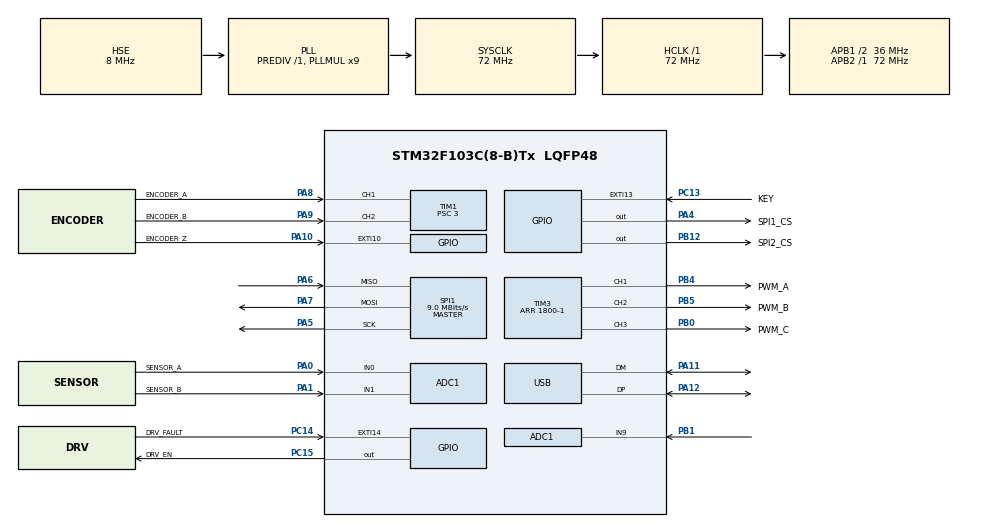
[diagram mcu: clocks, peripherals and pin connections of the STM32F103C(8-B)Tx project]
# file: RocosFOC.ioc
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ADC1.Channel-0\#ChannelRegularConversion=ADC_CHANNEL_0
ADC1.Channel-1\#ChannelRegularConversion=ADC_CHANNEL_1
ADC1.ContinuousConvMode=ENABLE
ADC1.NbrOfConversion=2
ADC1.NbrOfConversionFlag=1
ADC1.Rank-0\#ChannelRegularConversion=1
ADC1.Rank-1\#ChannelRegularConversion=2
ADC1.SamplingTime-0\#ChannelRegularConversion=ADC_SAMPLETIME_1CYCLE_5
ADC1.SamplingTime-1\#ChannelRegularConversion=ADC_SAMPLETIME_1CYCLE_5
ADC1.master=1
Dma.ADC1.0.Direction=DMA_PERIPH_TO_MEMORY
Dma.ADC1.0.Instance=DMA1_Channel1
Dma.ADC1.0.MemDataAlignment=DMA_MDATAALIGN_HALFWORD
Dma.ADC1.0.MemInc=DMA_MINC_ENABLE
Dma.ADC1.0.Mode=DMA_CIRCULAR
Dma.ADC1.0.PeriphDataAlignment=DMA_PDATAALIGN_HALFWORD
Dma.ADC1.0.PeriphInc=DMA_PINC_DISABLE
Dma.ADC1.0.Priority=DMA_PRIORITY_LOW
Dma.Request0=ADC1
Mcu.Family=STM32F1
Mcu.Name=STM32F103C(8-B)Tx
Mcu.Package=LQFP48
NVIC.DMA1_Channel1_IRQn=true\:0\:0\:false\:false\:true\:false\:true\:true
NVIC.PriorityGroup=NVIC_PRIORITYGROUP_4
NVIC.TIM4_IRQn=true\:0\:0\:false\:false\:true\:true\:true\:true
NVIC.USB_LP_CAN1_RX0_IRQn=true\:0\:0\:false\:false\:true\:false\:true\:true
PA0-WKUP.GPIO_Label=SENSOR_A
PA0-WKUP.Signal=ADCx_IN0
PA1.GPIO_Label=SENSOR_B
PA1.Signal=ADCx_IN1
PA10.GPIO_Label=ENCODER_Z
PA10.Signal=GPXTI10
PA11.Mode=Device
PA11.Signal=USB_DM
PA12.Mode=Device
PA12.Signal=USB_DP
PA13.Mode=Serial_Wire
PA13.Signal=SYS_JTMS-SWDIO
PA14.Mode=Serial_Wire
PA14.Signal=SYS_JTCK-SWCLK
PA15.GPIO_Label=PWM_AUX1
PA15.Signal=S_TIM2_CH1_ETR
PA4.GPIO_Label=SPI1_CS
PA4.PinState=GPIO_PIN_SET
PA4.Signal=GPIO_Output
PA5.Mode=Full_Duplex_Master
PA5.Signal=SPI1_SCK
PA6.Mode=Full_Duplex_Master
PA6.Signal=SPI1_MISO
PA7.Mode=Full_Duplex_Master
PA7.Signal=SPI1_MOSI
PA8.GPIO_Label=ENCODER_A
PA8.Signal=S_TIM1_CH1
PA9.GPIO_Label=ENCODER_B
PA9.Signal=S_TIM1_CH2
PB0.GPIO_Label=PWM_C
PB0.Signal=S_TIM3_CH3
PB1.Signal=ADCx_IN9
PB12.GPIO_Label=SPI2_CS
PB12.Signal=GPIO_Output
PB3.GPIO_Label=PWM_AUX2
PB3.Signal=S_TIM2_CH2
PB4.GPIO_Label=PWM_A
PB4.Signal=S_TIM3_CH1
PB5.GPIO_Label=PWM_B
PB5.Signal=S_TIM3_CH2
PC13-TAMPER-RTC.GPIO_Label=KEY
PC13-TAMPER-RTC.Signal=GPXTI13
PC14-OSC32_IN.GPIO_Label=DRV_FAULT
PC14-OSC32_IN.Signal=GPXTI14
PC15-OSC32_OUT.GPIO_Label=DRV_EN
PC15-OSC32_OUT.Signal=GPIO_Output
PD0-OSC_IN.Mode=HSE-External-Oscillator
PD0-OSC_IN.Signal=RCC_OSC_IN
PD1-OSC_OUT.Mode=HSE-External-Oscillator
PD1-OSC_OUT.Signal=RCC_OSC_OUT
ProjectManager.HeapSize=0x600
ProjectManager.StackSize=0x400
ProjectManager.TargetToolchain=STM32CubeIDE
RCC.ADCPresc=RCC_ADCPCLK2_DIV6
RCC.AHBFreq_Value=72000000
RCC.APB1CLKDivider=RCC_HCLK_DIV2
RCC.APB1Freq_Value=36000000
RCC.APB1TimFreq_Value=72000000
RCC.APB2Freq_Value=72000000
RCC.APB2TimFreq_Value=72000000
RCC.HCLKFreq_Value=72000000
RCC.PLLMUL=RCC_PLL_MUL9
RCC.SYSCLKFreq_VALUE=72000000
RCC.SYSCLKSource=RCC_SYSCLKSOURCE_PLLCLK
RCC.USBFreq_Value=48000000
RCC.USBPrescaler=RCC_USBCLKSOURCE_PLL_DIV1_5
RTC.Date=3
RTC.Month=RTC_MONTH_OCTOBER
RTC.Year=22
SH.ADCx_IN0.0=ADC1_IN0,IN0
SH.ADCx_IN1.0=ADC1_IN1,IN1
SH.ADCx_IN9.0=ADC1_IN9,IN9
SH.S_TIM1_CH1.0=TIM1_CH1,Encoder_Interface
SH.S_TIM1_CH2.0=TIM1_CH2,Encoder_Interface
SH.S_TIM2_CH1_ETR.0=TIM2_CH1
SH.S_TIM2_CH2.0=TIM2_CH2
SH.S_TIM3_CH1.0=TIM3_CH1,PWM Generation1 CH1
SH.S_TIM3_CH2.0=TIM3_CH2,PWM Generation2 CH2
SH.S_TIM3_CH3.0=TIM3_CH3,PWM Generation3 CH3
SPI1.BaudRatePrescaler=SPI_BAUDRATEPRESCALER_8
SPI1.CLKPhase=SPI_PHASE_2EDGE
SPI1.CalculateBaudRate=9.0 MBits/s
SPI1.DataSize=SPI_DATASIZE_16BIT
SPI1.Direction=SPI_DIRECTION_2LINES
SPI1.Mode=SPI_MODE_MASTER
SPI1.VirtualType=VM_MASTER
TIM1.EncoderMode=TIM_ENCODERMODE_TI12
TIM1.Prescaler=3
TIM2.AutoReloadPreload=TIM_AUTORELOAD_PRELOAD_ENABLE
TIM2.Period=65536-1
TIM2.Prescaler=72-1
TIM3.AutoReloadPreload=TIM_AUTORELOAD_PRELOAD_ENABLE
TIM3.Channel-PWM\ Generation1\ CH1=TIM_CHANNEL_1
TIM3.Channel-PWM\ Generation2\ CH2=TIM_CHANNEL_2
TIM3.Channel-PWM\ Generation3\ CH3=TIM_CHANNEL_3
TIM3.CounterMode=TIM_COUNTERMODE_CENTERALIGNED1
TIM3.Period=1800-1
TIM3.TIM_MasterSlaveMode=TIM_MASTERSLAVEMODE_DISABLE
TIM4.AutoReloadPreload=TIM_AUTORELOAD_PRELOAD_ENABLE
TIM4.Period=65536-1
TIM4.Prescaler=72-1
USB_DEVICE.CLASS_NAME_FS=CDC
USB_DEVICE.MANUFACTURER_STRING=ROCOS
USB_DEVICE.PRODUCT_STRING_CDC_FS=STM32 Virtual ComPort
USB_DEVICE.VirtualMode=Cdc
USB_DEVICE.VirtualModeFS=Cdc_FS
VP_RTC_VS_RTC_Activate.Mode=RTC_Enabled
VP_RTC_VS_RTC_Calendar.Mode=RTC_Calendar
VP_TIM2_VS_ClockSourceINT.Mode=Internal
VP_TIM4_VS_ClockSourceINT.Mode=Internal
VP_USB_DEVICE_VS_USB_DEVICE_CDC_FS.Mode=CDC_FS
board=custom

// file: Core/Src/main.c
/* USER CODE BEGIN Header */
/**
  ******************************************************************************
  * @file           : main.c
  * @brief          : Main program body
  ******************************************************************************
  * @attention
  *
  * Copyright (c) 2022 STMicroelectronics.
  * All rights reserved.
  *
  * This software is licensed under terms that can be found in the LICENSE file
  * in the root directory of this software component.
  * If no LICENSE file comes with this software, it is provided AS-IS.
  *
  ******************************************************************************
  */
/* USER CODE END Header */
#include "main.h"
#include "usb_device.h"

/* USER CODE BEGIN Includes */
#include "usbd_cdc_if.h"
/* USER CODE END Includes */

 ADC_HandleTypeDef hadc1;
DMA_HandleTypeDef hdma_adc1;

RTC_HandleTypeDef hrtc;

SPI_HandleTypeDef hspi1;

TIM_HandleTypeDef htim1;
TIM_HandleTypeDef htim2;
TIM_HandleTypeDef htim3;
TIM_HandleTypeDef htim4;

/* USER CODE BEGIN PV */

//!< for timestamp_us
unsigned long timer_counter = 0;

/* USER CODE END PV */

void SystemClock_Config(void);
static void MX_GPIO_Init(void);
static void MX_ADC1_Init(void);
static void MX_SPI1_Init(void);
static void MX_TIM1_Init(void);
static void MX_TIM3_Init(void);
static void MX_DMA_Init(void);
static void MX_TIM4_Init(void);
static void MX_RTC_Init(void);
static void MX_TIM2_Init(void);
/* USER CODE BEGIN PFP */
static void USB_Status_Init(void);
/* USER CODE END PFP */

int main(void)
{

  /* MCU Configuration--------------------------------------------------------*/

  /* Reset of all peripherals, Initializes the Flash interface and the Systick. */
  HAL_Init();

  /* Configure the system clock */
  SystemClock_Config();

  /* USER CODE BEGIN SysInit */
  USB_Status_Init();
  /* USER CODE END SysInit */

  /* Initialize all configured peripherals */
  MX_GPIO_Init();
  MX_ADC1_Init();
  MX_SPI1_Init();
  MX_TIM1_Init();
  MX_TIM3_Init();
  MX_USB_DEVICE_Init();
  MX_DMA_Init();
  MX_TIM4_Init();
  MX_RTC_Init();
  MX_TIM2_Init();
  /* USER CODE BEGIN 2 */
  //!< start pwm
  HAL_TIM_PWM_Start(&htim3, TIM_CHANNEL_1); // Motor A
  HAL_TIM_PWM_Start(&htim3, TIM_CHANNEL_2); // Motor B
  HAL_TIM_PWM_Start(&htim3, TIM_CHANNEL_3); // Motor C
  //!< for delay_us
  HAL_TIM_Base_Start(&htim2);
    HAL_TIM_Base_Start_IT(&htim4);
  TaskSetup();

  /* USER CODE END 2 */

  /* Infinite loop */
  while (1)
  {

    /* USER CODE BEGIN 3 */
    TaskDo();

  }
  /* USER CODE END 3 */
}

void SystemClock_Config(void)
{
  RCC_OscInitTypeDef RCC_OscInitStruct = {0};
  RCC_ClkInitTypeDef RCC_ClkInitStruct = {0};
  RCC_PeriphCLKInitTypeDef PeriphClkInit = {0};

  /** Initializes the RCC Oscillators according to the specified parameters
  * in the RCC_OscInitTypeDef structure.
  */
  RCC_OscInitStruct.OscillatorType = RCC_OSCILLATORTYPE_LSI|RCC_OSCILLATORTYPE_HSE;
  RCC_OscInitStruct.HSEState = RCC_HSE_ON;
  RCC_OscInitStruct.HSEPredivValue = RCC_HSE_PREDIV_DIV1;
  RCC_OscInitStruct.HSIState = RCC_HSI_ON;
  RCC_OscInitStruct.LSIState = RCC_LSI_ON;
  RCC_OscInitStruct.PLL.PLLState = RCC_PLL_ON;
  RCC_OscInitStruct.PLL.PLLSource = RCC_PLLSOURCE_HSE;
  RCC_OscInitStruct.PLL.PLLMUL = RCC_PLL_MUL9;
  if (HAL_RCC_OscConfig(&RCC_OscInitStruct) != HAL_OK)
  {
    Error_Handler();
  }

  /** Initializes the CPU, AHB and APB buses clocks
  */
  RCC_ClkInitStruct.ClockType = RCC_CLOCKTYPE_HCLK|RCC_CLOCKTYPE_SYSCLK
                              |RCC_CLOCKTYPE_PCLK1|RCC_CLOCKTYPE_PCLK2;
  RCC_ClkInitStruct.SYSCLKSource = RCC_SYSCLKSOURCE_PLLCLK;
  RCC_ClkInitStruct.AHBCLKDivider = RCC_SYSCLK_DIV1;
  RCC_ClkInitStruct.APB1CLKDivider = RCC_HCLK_DIV2;
  RCC_ClkInitStruct.APB2CLKDivider = RCC_HCLK_DIV1;

  if (HAL_RCC_ClockConfig(&RCC_ClkInitStruct, FLASH_LATENCY_2) != HAL_OK)
  {
    Error_Handler();
  }
  PeriphClkInit.PeriphClockSelection = RCC_PERIPHCLK_RTC|RCC_PERIPHCLK_ADC
                              |RCC_PERIPHCLK_USB;
  PeriphClkInit.RTCClockSelection = RCC_RTCCLKSOURCE_LSI;
  PeriphClkInit.AdcClockSelection = RCC_ADCPCLK2_DIV6;
  PeriphClkInit.UsbClockSelection = RCC_USBCLKSOURCE_PLL_DIV1_5;
  if (HAL_RCCEx_PeriphCLKConfig(&PeriphClkInit) != HAL_OK)
  {
    Error_Handler();
  }
}

static void MX_ADC1_Init(void)
{

  ADC_ChannelConfTypeDef sConfig = {0};

  /** Common config
  */
  hadc1.Instance = ADC1;
  hadc1.Init.ScanConvMode = ADC_SCAN_ENABLE;
  hadc1.Init.ContinuousConvMode = ENABLE;
  hadc1.Init.DiscontinuousConvMode = DISABLE;
  hadc1.Init.ExternalTrigConv = ADC_SOFTWARE_START;
  hadc1.Init.DataAlign = ADC_DATAALIGN_RIGHT;
  hadc1.Init.NbrOfConversion = 2;
  if (HAL_ADC_Init(&hadc1) != HAL_OK)
  {
    Error_Handler();
  }

  /** Configure Regular Channel
  */
  sConfig.Channel = ADC_CHANNEL_0;
  sConfig.Rank = ADC_REGULAR_RANK_1;
  sConfig.SamplingTime = ADC_SAMPLETIME_1CYCLE_5;
  if (HAL_ADC_ConfigChannel(&hadc1, &sConfig) != HAL_OK)
  {
    Error_Handler();
  }

  /** Configure Regular Channel
  */
  sConfig.Channel = ADC_CHANNEL_1;
  sConfig.Rank = ADC_REGULAR_RANK_2;
  if (HAL_ADC_ConfigChannel(&hadc1, &sConfig) != HAL_OK)
  {
    Error_Handler();
  }

}

static void MX_RTC_Init(void)
{

  RTC_TimeTypeDef sTime = {0};
  RTC_DateTypeDef DateToUpdate = {0};

  /** Initialize RTC Only
  */
  hrtc.Instance = RTC;
  hrtc.Init.AsynchPrediv = RTC_AUTO_1_SECOND;
  hrtc.Init.OutPut = RTC_OUTPUTSOURCE_ALARM;
  if (HAL_RTC_Init(&hrtc) != HAL_OK)
  {
    Error_Handler();
  }

  /** Initialize RTC and set the Time and Date
  */
  sTime.Hours = 0x0;
  sTime.Minutes = 0x0;
  sTime.Seconds = 0x0;

  if (HAL_RTC_SetTime(&hrtc, &sTime, RTC_FORMAT_BCD) != HAL_OK)
  {
    Error_Handler();
  }
  DateToUpdate.WeekDay = RTC_WEEKDAY_MONDAY;
  DateToUpdate.Month = RTC_MONTH_OCTOBER;
  DateToUpdate.Date = 0x3;
  DateToUpdate.Year = 0x22;

  if (HAL_RTC_SetDate(&hrtc, &DateToUpdate, RTC_FORMAT_BCD) != HAL_OK)
  {
    Error_Handler();
  }

}

static void MX_SPI1_Init(void)
{

  /* SPI1 parameter configuration*/
  hspi1.Instance = SPI1;
  hspi1.Init.Mode = SPI_MODE_MASTER;
  hspi1.Init.Direction = SPI_DIRECTION_2LINES;
  hspi1.Init.DataSize = SPI_DATASIZE_16BIT;
  hspi1.Init.CLKPolarity = SPI_POLARITY_LOW;
  hspi1.Init.CLKPhase = SPI_PHASE_2EDGE;
  hspi1.Init.NSS = SPI_NSS_SOFT;
  hspi1.Init.BaudRatePrescaler = SPI_BAUDRATEPRESCALER_8;
  hspi1.Init.FirstBit = SPI_FIRSTBIT_MSB;
  hspi1.Init.TIMode = SPI_TIMODE_DISABLE;
  hspi1.Init.CRCCalculation = SPI_CRCCALCULATION_DISABLE;
  hspi1.Init.CRCPolynomial = 10;
  if (HAL_SPI_Init(&hspi1) != HAL_OK)
  {
    Error_Handler();
  }

}

static void MX_TIM1_Init(void)
{

  TIM_Encoder_InitTypeDef sConfig = {0};
  TIM_MasterConfigTypeDef sMasterConfig = {0};

  htim1.Instance = TIM1;
  htim1.Init.Prescaler = 3;
  htim1.Init.CounterMode = TIM_COUNTERMODE_UP;
  htim1.Init.Period = 65535;
  htim1.Init.ClockDivision = TIM_CLOCKDIVISION_DIV1;
  htim1.Init.RepetitionCounter = 0;
  htim1.Init.AutoReloadPreload = TIM_AUTORELOAD_PRELOAD_DISABLE;
  sConfig.EncoderMode = TIM_ENCODERMODE_TI12;
  sConfig.IC1Polarity = TIM_ICPOLARITY_RISING;
  sConfig.IC1Selection = TIM_ICSELECTION_DIRECTTI;
  sConfig.IC1Prescaler = TIM_ICPSC_DIV1;
  sConfig.IC1Filter = 0;
  sConfig.IC2Polarity = TIM_ICPOLARITY_RISING;
  sConfig.IC2Selection = TIM_ICSELECTION_DIRECTTI;
  sConfig.IC2Prescaler = TIM_ICPSC_DIV1;
  sConfig.IC2Filter = 0;
  if (HAL_TIM_Encoder_Init(&htim1, &sConfig) != HAL_OK)
  {
    Error_Handler();
  }
  sMasterConfig.MasterOutputTrigger = TIM_TRGO_RESET;
  sMasterConfig.MasterSlaveMode = TIM_MASTERSLAVEMODE_DISABLE;
  if (HAL_TIMEx_MasterConfigSynchronization(&htim1, &sMasterConfig) != HAL_OK)
  {
    Error_Handler();
  }

}

static void MX_TIM2_Init(void)
{

  TIM_ClockConfigTypeDef sClockSourceConfig = {0};
  TIM_MasterConfigTypeDef sMasterConfig = {0};

  htim2.Instance = TIM2;
  htim2.Init.Prescaler = 72-1;
  htim2.Init.CounterMode = TIM_COUNTERMODE_UP;
  htim2.Init.Period = 65536-1;
  htim2.Init.ClockDivision = TIM_CLOCKDIVISION_DIV1;
  htim2.Init.AutoReloadPreload = TIM_AUTORELOAD_PRELOAD_ENABLE;
  if (HAL_TIM_Base_Init(&htim2) != HAL_OK)
  {
    Error_Handler();
  }
  sClockSourceConfig.ClockSource = TIM_CLOCKSOURCE_INTERNAL;
  if (HAL_TIM_ConfigClockSource(&htim2, &sClockSourceConfig) != HAL_OK)
  {
    Error_Handler();
  }
  sMasterConfig.MasterOutputTrigger = TIM_TRGO_RESET;
  sMasterConfig.MasterSlaveMode = TIM_MASTERSLAVEMODE_DISABLE;
  if (HAL_TIMEx_MasterConfigSynchronization(&htim2, &sMasterConfig) != HAL_OK)
  {
    Error_Handler();
  }

}

static void MX_TIM3_Init(void)
{

  TIM_MasterConfigTypeDef sMasterConfig = {0};
  TIM_OC_InitTypeDef sConfigOC = {0};

  htim3.Instance = TIM3;
  htim3.Init.Prescaler = 0;
  htim3.Init.CounterMode = TIM_COUNTERMODE_CENTERALIGNED1;
  htim3.Init.Period = 1800-1;
  htim3.Init.ClockDivision = TIM_CLOCKDIVISION_DIV1;
  htim3.Init.AutoReloadPreload = TIM_AUTORELOAD_PRELOAD_ENABLE;
  if (HAL_TIM_PWM_Init(&htim3) != HAL_OK)
  {
    Error_Handler();
  }
  sMasterConfig.MasterOutputTrigger = TIM_TRGO_RESET;
  sMasterConfig.MasterSlaveMode = TIM_MASTERSLAVEMODE_DISABLE;
  if (HAL_TIMEx_MasterConfigSynchronization(&htim3, &sMasterConfig) != HAL_OK)
  {
    Error_Handler();
  }
  sConfigOC.OCMode = TIM_OCMODE_PWM1;
  sConfigOC.Pulse = 0;
  sConfigOC.OCPolarity = TIM_OCPOLARITY_HIGH;
  sConfigOC.OCFastMode = TIM_OCFAST_DISABLE;
  if (HAL_TIM_PWM_ConfigChannel(&htim3, &sConfigOC, TIM_CHANNEL_1) != HAL_OK)
  {
    Error_Handler();
  }
  if (HAL_TIM_PWM_ConfigChannel(&htim3, &sConfigOC, TIM_CHANNEL_2) != HAL_OK)
  {
    Error_Handler();
  }
  if (HAL_TIM_PWM_ConfigChannel(&htim3, &sConfigOC, TIM_CHANNEL_3) != HAL_OK)
  {
    Error_Handler();
  }
  HAL_TIM_MspPostInit(&htim3);

}

static void MX_TIM4_Init(void)
{

  TIM_ClockConfigTypeDef sClockSourceConfig = {0};
  TIM_MasterConfigTypeDef sMasterConfig = {0};

  htim4.Instance = TIM4;
  htim4.Init.Prescaler = 72-1;
  htim4.Init.CounterMode = TIM_COUNTERMODE_UP;
  htim4.Init.Period = 65536-1;
  htim4.Init.ClockDivision = TIM_CLOCKDIVISION_DIV1;
  htim4.Init.AutoReloadPreload = TIM_AUTORELOAD_PRELOAD_ENABLE;
  if (HAL_TIM_Base_Init(&htim4) != HAL_OK)
  {
    Error_Handler();
  }
  sClockSourceConfig.ClockSource = TIM_CLOCKSOURCE_INTERNAL;
  if (HAL_TIM_ConfigClockSource(&htim4, &sClockSourceConfig) != HAL_OK)
  {
    Error_Handler();
  }
  sMasterConfig.MasterOutputTrigger = TIM_TRGO_RESET;
  sMasterConfig.MasterSlaveMode = TIM_MASTERSLAVEMODE_DISABLE;
  if (HAL_TIMEx_MasterConfigSynchronization(&htim4, &sMasterConfig) != HAL_OK)
  {
    Error_Handler();
  }

}

static void MX_DMA_Init(void)
{

  /* DMA controller clock enable */
  __HAL_RCC_DMA1_CLK_ENABLE();

  /* DMA interrupt init */
  /* DMA1_Channel1_IRQn interrupt configuration */
  HAL_NVIC_SetPriority(DMA1_Channel1_IRQn, 0, 0);
  HAL_NVIC_EnableIRQ(DMA1_Channel1_IRQn);

}

static void MX_GPIO_Init(void)
{
  GPIO_InitTypeDef GPIO_InitStruct = {0};

  /* GPIO Ports Clock Enable */
  __HAL_RCC_GPIOC_CLK_ENABLE();
  __HAL_RCC_GPIOD_CLK_ENABLE();
  __HAL_RCC_GPIOA_CLK_ENABLE();
  __HAL_RCC_GPIOB_CLK_ENABLE();

  /*Configure GPIO pin Output Level */
  HAL_GPIO_WritePin(DRV_EN_GPIO_Port, DRV_EN_Pin, GPIO_PIN_RESET);

  /*Configure GPIO pin Output Level */
  HAL_GPIO_WritePin(SPI1_CS_GPIO_Port, SPI1_CS_Pin, GPIO_PIN_SET);

  /*Configure GPIO pin Output Level */
  HAL_GPIO_WritePin(SPI2_CS_GPIO_Port, SPI2_CS_Pin, GPIO_PIN_RESET);

  /*Configure GPIO pins : KEY_Pin DRV_FAULT_Pin */
  GPIO_InitStruct.Pin = KEY_Pin|DRV_FAULT_Pin;
  GPIO_InitStruct.Mode = GPIO_MODE_IT_RISING;
  GPIO_InitStruct.Pull = GPIO_NOPULL;
  HAL_GPIO_Init(GPIOC, &GPIO_InitStruct);

  /*Configure GPIO pin : DRV_EN_Pin */
  GPIO_InitStruct.Pin = DRV_EN_Pin;
  GPIO_InitStruct.Mode = GPIO_MODE_OUTPUT_PP;
  GPIO_InitStruct.Pull = GPIO_NOPULL;
  GPIO_InitStruct.Speed = GPIO_SPEED_FREQ_LOW;
  HAL_GPIO_Init(DRV_EN_GPIO_Port, &GPIO_InitStruct);

  /*Configure GPIO pin : SPI1_CS_Pin */
  GPIO_InitStruct.Pin = SPI1_CS_Pin;
  GPIO_InitStruct.Mode = GPIO_MODE_OUTPUT_PP;
  GPIO_InitStruct.Pull = GPIO_NOPULL;
  GPIO_InitStruct.Speed = GPIO_SPEED_FREQ_LOW;
  HAL_GPIO_Init(SPI1_CS_GPIO_Port, &GPIO_InitStruct);

  /*Configure GPIO pin : SPI2_CS_Pin */
  GPIO_InitStruct.Pin = SPI2_CS_Pin;
  GPIO_InitStruct.Mode = GPIO_MODE_OUTPUT_PP;
  GPIO_InitStruct.Pull = GPIO_NOPULL;
  GPIO_InitStruct.Speed = GPIO_SPEED_FREQ_LOW;
  HAL_GPIO_Init(SPI2_CS_GPIO_Port, &GPIO_InitStruct);

  /*Configure GPIO pin : ENCODER_Z_Pin */
  GPIO_InitStruct.Pin = ENCODER_Z_Pin;
  GPIO_InitStruct.Mode = GPIO_MODE_IT_RISING;
  GPIO_InitStruct.Pull = GPIO_NOPULL;
  HAL_GPIO_Init(ENCODER_Z_GPIO_Port, &GPIO_InitStruct);

}

/* USER CODE BEGIN 4 */
static void USB_Status_Init(void) {
    GPIO_InitTypeDef GPIO_InitStruct = {0};

    /* GPIO Ports Clock Enable */
    __HAL_RCC_GPIOA_CLK_ENABLE();

    /*Configure GPIO pin Output Level */
    HAL_GPIO_WritePin(GPIOA, GPIO_PIN_11 | GPIO_PIN_12, GPIO_PIN_RESET);

    /*Configure GPIO pin : W25Q256_CS_Pin */
    GPIO_InitStruct.Pin = GPIO_PIN_11 | GPIO_PIN_12;
    GPIO_InitStruct.Mode = GPIO_MODE_OUTPUT_PP;
    GPIO_InitStruct.Pull = GPIO_PULLDOWN;
    GPIO_InitStruct.Speed = GPIO_SPEED_FREQ_LOW;
    HAL_GPIO_Init(GPIOA, &GPIO_InitStruct);

    HAL_Delay(20);
}

void HAL_TIM_PeriodElapsedCallback(TIM_HandleTypeDef *htim) {
//    usb_printf("timer_counter: %d", timer_counter);
    if(htim->Instance == htim4.Instance) {
        timer_counter ++;
    }
}

void _writeDutyCycle3PWM(float dc_a, float dc_b, float dc_c) {
    __HAL_TIM_SetCompare(&htim3, TIM_CHANNEL_1, dc_a*PWM_RANGE);
    __HAL_TIM_SetCompare(&htim3, TIM_CHANNEL_2, dc_b*PWM_RANGE);
    __HAL_TIM_SetCompare(&htim3, TIM_CHANNEL_3, dc_c*PWM_RANGE);
}

/* USER CODE END 4 */

void Error_Handler(void)
{
  __disable_irq();
  while (1)
  {
  }
}
